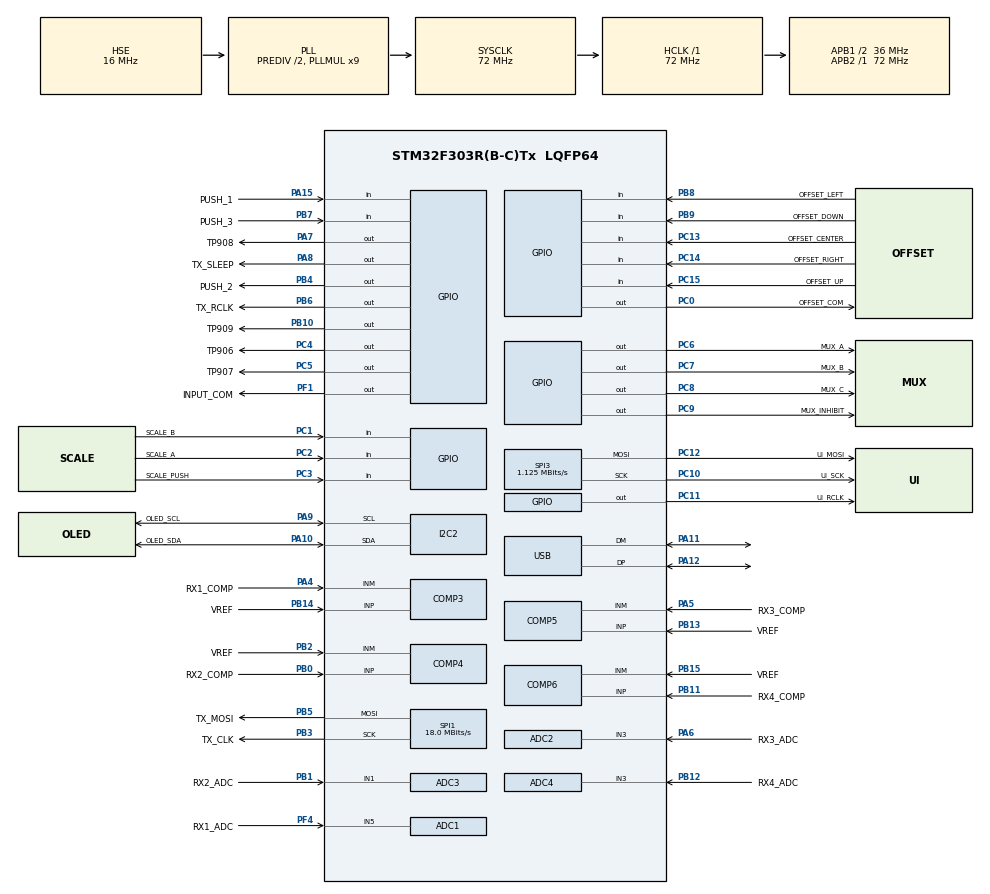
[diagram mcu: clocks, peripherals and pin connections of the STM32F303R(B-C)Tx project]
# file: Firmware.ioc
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ADC1.Channel-0\#ChannelRegularConversion=ADC_CHANNEL_5
ADC1.ClockPrescaler=ADC_CLOCK_SYNC_PCLK_DIV1
ADC1.NbrOfConversionFlag=1
ADC1.Offset-0\#ChannelRegularConversion=0
ADC1.OffsetNumber-0\#ChannelRegularConversion=ADC_OFFSET_NONE
ADC1.Rank-0\#ChannelRegularConversion=1
ADC1.SamplingTime-0\#ChannelRegularConversion=ADC_SAMPLETIME_1CYCLE_5
ADC1.SamplingTimeOPAMP-0\#ChannelRegularConversion=ADC_SAMPLETIME_19CYCLES_5
ADC1.master=1
ADC2.Channel-0\#ChannelRegularConversion=ADC_CHANNEL_3
ADC2.ClockPrescaler=ADC_CLOCK_SYNC_PCLK_DIV1
ADC2.NbrOfConversionFlag=1
ADC2.Offset-0\#ChannelRegularConversion=0
ADC2.OffsetNumber-0\#ChannelRegularConversion=ADC_OFFSET_NONE
ADC2.Rank-0\#ChannelRegularConversion=1
ADC2.SamplingTime-0\#ChannelRegularConversion=ADC_SAMPLETIME_1CYCLE_5
ADC2.SamplingTimeOPAMP-0\#ChannelRegularConversion=ADC_SAMPLETIME_19CYCLES_5
ADC3.Channel-0\#ChannelRegularConversion=ADC_CHANNEL_1
ADC3.ClockPrescaler=ADC_CLOCK_SYNC_PCLK_DIV1
ADC3.NbrOfConversionFlag=1
ADC3.Offset-0\#ChannelRegularConversion=0
ADC3.OffsetNumber-0\#ChannelRegularConversion=ADC_OFFSET_NONE
ADC3.Rank-0\#ChannelRegularConversion=1
ADC3.SamplingTime-0\#ChannelRegularConversion=ADC_SAMPLETIME_1CYCLE_5
ADC3.SamplingTimeOPAMP-0\#ChannelRegularConversion=ADC_SAMPLETIME_4CYCLES_5
ADC3.master=1
ADC4.Channel-0\#ChannelRegularConversion=ADC_CHANNEL_3
ADC4.ClockPrescaler=ADC_CLOCK_SYNC_PCLK_DIV1
ADC4.NbrOfConversionFlag=1
ADC4.Offset-0\#ChannelRegularConversion=0
ADC4.OffsetNumber-0\#ChannelRegularConversion=ADC_OFFSET_NONE
ADC4.Rank-0\#ChannelRegularConversion=1
ADC4.SamplingTime-0\#ChannelRegularConversion=ADC_SAMPLETIME_1CYCLE_5
ADC4.SamplingTimeOPAMP-0\#ChannelRegularConversion=ADC_SAMPLETIME_19CYCLES_5
Dma.ADC1.0.Direction=DMA_PERIPH_TO_MEMORY
Dma.ADC1.0.Instance=DMA1_Channel1
Dma.ADC1.0.MemDataAlignment=DMA_MDATAALIGN_HALFWORD
Dma.ADC1.0.MemInc=DMA_MINC_ENABLE
Dma.ADC1.0.Mode=DMA_NORMAL
Dma.ADC1.0.PeriphDataAlignment=DMA_PDATAALIGN_HALFWORD
Dma.ADC1.0.PeriphInc=DMA_PINC_DISABLE
Dma.ADC1.0.Priority=DMA_PRIORITY_MEDIUM
Dma.ADC2.1.Direction=DMA_PERIPH_TO_MEMORY
Dma.ADC2.1.Instance=DMA2_Channel1
Dma.ADC2.1.MemDataAlignment=DMA_MDATAALIGN_HALFWORD
Dma.ADC2.1.MemInc=DMA_MINC_ENABLE
Dma.ADC2.1.Mode=DMA_NORMAL
Dma.ADC2.1.PeriphDataAlignment=DMA_PDATAALIGN_HALFWORD
Dma.ADC2.1.PeriphInc=DMA_PINC_DISABLE
Dma.ADC2.1.Priority=DMA_PRIORITY_MEDIUM
Dma.ADC3.2.Direction=DMA_PERIPH_TO_MEMORY
Dma.ADC3.2.Instance=DMA2_Channel5
Dma.ADC3.2.MemDataAlignment=DMA_MDATAALIGN_HALFWORD
Dma.ADC3.2.MemInc=DMA_MINC_ENABLE
Dma.ADC3.2.Mode=DMA_NORMAL
Dma.ADC3.2.PeriphDataAlignment=DMA_PDATAALIGN_HALFWORD
Dma.ADC3.2.PeriphInc=DMA_PINC_DISABLE
Dma.ADC3.2.Priority=DMA_PRIORITY_MEDIUM
Dma.ADC4.3.Direction=DMA_PERIPH_TO_MEMORY
Dma.ADC4.3.Instance=DMA2_Channel2
Dma.ADC4.3.MemDataAlignment=DMA_MDATAALIGN_HALFWORD
Dma.ADC4.3.MemInc=DMA_MINC_ENABLE
Dma.ADC4.3.Mode=DMA_NORMAL
Dma.ADC4.3.PeriphDataAlignment=DMA_PDATAALIGN_HALFWORD
Dma.ADC4.3.PeriphInc=DMA_PINC_DISABLE
Dma.ADC4.3.Priority=DMA_PRIORITY_MEDIUM
Dma.Request0=ADC1
Dma.Request1=ADC2
Dma.Request2=ADC3
Dma.Request3=ADC4
FREERTOS.Tasks01=USB_Transmit,0,128,StartUSB_Transmit,Default,NULL,Dynamic,NULL,NULL;LED_Write,-2,128,StartLED_Write,Default,NULL,Dynamic,NULL,NULL;UI_Read,-2,128,StartUI_Read,Default,NULL,Dynamic,NULL,NULL
I2C2.Timing=0x00201D2B
Mcu.Family=STM32F3
Mcu.Name=STM32F303R(B-C)Tx
Mcu.Package=LQFP64
NVIC.ADC1_2_IRQn=true\:5\:0\:false\:false\:true\:true\:true\:true\:true
NVIC.ADC3_IRQn=true\:5\:0\:false\:false\:true\:true\:true\:true\:true
NVIC.ADC4_IRQn=true\:5\:0\:false\:false\:true\:true\:true\:true\:true
NVIC.DMA1_Channel1_IRQn=true\:5\:0\:false\:false\:true\:true\:false\:true\:true
NVIC.DMA2_Channel1_IRQn=true\:5\:0\:false\:false\:true\:true\:false\:true\:true
NVIC.DMA2_Channel2_IRQn=true\:5\:0\:false\:false\:true\:true\:false\:true\:true
NVIC.DMA2_Channel5_IRQn=true\:5\:0\:false\:false\:true\:true\:false\:true\:true
NVIC.PriorityGroup=NVIC_PRIORITYGROUP_4
NVIC.TIM1_UP_TIM16_IRQn=true\:15\:0\:false\:false\:true\:false\:false\:true\:true
NVIC.TimeBase=TIM1_UP_TIM16_IRQn
NVIC.TimeBaseIP=TIM1
NVIC.USB_LP_CAN_RX0_IRQn=true\:5\:0\:false\:false\:true\:true\:false\:true\:true
PA10.GPIO_Label=OLED_SDA
PA10.Mode=I2C
PA10.Signal=I2C2_SDA
PA11.Mode=Device
PA11.Signal=USB_DM
PA12.Mode=Device
PA12.Signal=USB_DP
PA13.Mode=Serial_Wire
PA13.Signal=SYS_JTMS-SWDIO
PA14.Mode=Serial_Wire
PA14.Signal=SYS_JTCK-SWCLK
PA15.GPIO_Label=PUSH_1
PA15.Signal=GPIO_Input
PA4.GPIO_Label=RX1_COMP
PA4.Mode=INM
PA4.Signal=COMP3_INM
PA5.GPIO_Label=RX3_COMP
PA5.Mode=INM
PA5.Signal=COMP5_INM
PA6.GPIO_Label=RX3_ADC
PA6.Mode=IN3-Single-Ended
PA6.Signal=ADC2_IN3
PA7.GPIO_Label=TP908
PA7.Signal=GPIO_Output
PA8.GPIO_Label=TX_SLEEP
PA8.Signal=GPIO_Output
PA9.GPIO_Label=OLED_SCL
PA9.Mode=I2C
PA9.Signal=I2C2_SCL
PB0.GPIO_Label=RX2_COMP
PB0.Mode=INP
PB0.Signal=COMP4_INP
PB1.GPIO_Label=RX2_ADC
PB1.Mode=IN1-Single-Ended
PB1.Signal=ADC3_IN1
PB10.GPIO_Label=TP909
PB10.Signal=GPIO_Output
PB11.GPIO_Label=RX4_COMP
PB11.Mode=INP
PB11.Signal=COMP6_INP
PB12.GPIO_Label=RX4_ADC
PB12.Mode=IN3-Single-Ended
PB12.Signal=ADC4_IN3
PB13.GPIO_Label=VREF
PB13.Mode=INP
PB13.Signal=COMP5_INP
PB14.GPIO_Label=VREF
PB14.Mode=INP
PB14.Signal=COMP3_INP
PB15.GPIO_Label=VREF
PB15.Mode=INM
PB15.Signal=COMP6_INM
PB2.GPIO_Label=VREF
PB2.Mode=INM
PB2.Signal=COMP4_INM
PB3.GPIO_Label=TX_CLK
PB3.Mode=TX_Only_Simplex_Unidirect_Master
PB3.Signal=SPI1_SCK
PB4.GPIO_Label=PUSH_2
PB4.Signal=GPIO_Output
PB5.GPIO_Label=TX_MOSI
PB5.Mode=TX_Only_Simplex_Unidirect_Master
PB5.Signal=SPI1_MOSI
PB6.GPIO_Label=TX_RCLK
PB6.Signal=GPIO_Output
PB7.GPIO_Label=PUSH_3
PB7.Signal=GPIO_Input
PB8.GPIO_Label=OFFSET_LEFT
PB8.Signal=GPIO_Input
PB9.GPIO_Label=OFFSET_DOWN
PB9.Signal=GPIO_Input
PC0.GPIO_Label=OFFSET_COM
PC0.Signal=GPIO_Output
PC1.GPIO_Label=SCALE_B
PC1.Signal=GPIO_Input
PC10.GPIO_Label=UI_SCK
PC10.Mode=TX_Only_Simplex_Unidirect_Master
PC10.Signal=SPI3_SCK
PC11.GPIO_Label=UI_RCLK
PC11.Signal=GPIO_Output
PC12.GPIO_Label=UI_MOSI
PC12.Mode=TX_Only_Simplex_Unidirect_Master
PC12.Signal=SPI3_MOSI
PC13.GPIO_Label=OFFSET_CENTER
PC13.Signal=GPIO_Input
PC14-OSC32_IN.GPIO_Label=OFFSET_RIGHT
PC14-OSC32_IN.Signal=GPIO_Input
PC15-OSC32_OUT.GPIO_Label=OFFSET_UP
PC15-OSC32_OUT.Signal=GPIO_Input
PC2.GPIO_Label=SCALE_A
PC2.Signal=GPIO_Input
PC3.GPIO_Label=SCALE_PUSH
PC3.Signal=GPIO_Input
PC4.GPIO_Label=TP906
PC4.Signal=GPIO_Output
PC5.GPIO_Label=TP907
PC5.Signal=GPIO_Output
PC6.GPIO_Label=MUX_A
PC6.Signal=GPIO_Output
PC7.GPIO_Label=MUX_B
PC7.Signal=GPIO_Output
PC8.GPIO_Label=MUX_C
PC8.Signal=GPIO_Output
PC9.GPIO_Label=MUX_INHIBIT
PC9.Signal=GPIO_Output
PF0-OSC_IN.Mode=HSE-External-Clock-Source
PF0-OSC_IN.Signal=RCC_OSC_IN
PF1-OSC_OUT.GPIO_Label=INPUT_COM
PF1-OSC_OUT.Signal=GPIO_Output
PF4.GPIO_Label=RX1_ADC
PF4.Mode=IN5-Single-Ended
PF4.Signal=ADC1_IN5
ProjectManager.HeapSize=0x200
ProjectManager.StackSize=0x400
ProjectManager.TargetToolchain=STM32CubeIDE
RCC.AHBFreq_Value=72000000
RCC.APB1CLKDivider=RCC_HCLK_DIV2
RCC.APB1Freq_Value=36000000
RCC.APB1TimFreq_Value=72000000
RCC.APB2Freq_Value=72000000
RCC.APB2TimFreq_Value=72000000
RCC.CortexFreq_Value=72000000
RCC.HCLKFreq_Value=72000000
RCC.HSE_VALUE=16000000
RCC.HSI_VALUE=8000000
RCC.LSE_VALUE=32768
RCC.PLLMUL=RCC_PLL_MUL9
RCC.PRESCALERUSB=RCC_USBCLKSOURCE_PLL_DIV1_5
RCC.RCC_PLLsource_Clock_Source_FROM_HSE=RCC_HSE_PREDIV_DIV2
RCC.SYSCLKFreq_VALUE=72000000
RCC.SYSCLKSourceVirtual=RCC_SYSCLKSOURCE_PLLCLK
RCC.USBFreq_Value=48000000
SPI1.BaudRatePrescaler=SPI_BAUDRATEPRESCALER_4
SPI1.CalculateBaudRate=18.0 MBits/s
SPI1.Direction=SPI_DIRECTION_2LINES
SPI1.Mode=SPI_MODE_MASTER
SPI1.VirtualType=VM_MASTER
SPI3.BaudRatePrescaler=SPI_BAUDRATEPRESCALER_32
SPI3.CalculateBaudRate=1.125 MBits/s
SPI3.DataSize=SPI_DATASIZE_8BIT
SPI3.Direction=SPI_DIRECTION_2LINES
SPI3.FirstBit=SPI_FIRSTBIT_LSB
SPI3.Mode=SPI_MODE_MASTER
SPI3.VirtualType=VM_MASTER
USB_DEVICE.CLASS_NAME_FS=CDC
USB_DEVICE.VirtualMode=Cdc
USB_DEVICE.VirtualModeFS=Cdc_FS
VP_FREERTOS_VS_CMSIS_V1.Mode=CMSIS_V1
VP_SYS_VS_tim1.Mode=TIM1
VP_USB_DEVICE_VS_USB_DEVICE_CDC_FS.Mode=CDC_FS
board=custom

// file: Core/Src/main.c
/* USER CODE BEGIN Header */
/**
  ******************************************************************************
  * @file           : main.c
  * @brief          : Main program body
  ******************************************************************************
  * @attention
  *
  * Copyright (c) 2025 STMicroelectronics.
  * All rights reserved.
  *
  * This software is licensed under terms that can be found in the LICENSE file
  * in the root directory of this software component.
  * If no LICENSE file comes with this software, it is provided AS-IS.
  *
  ******************************************************************************
  */
/* USER CODE END Header */
#include "main.h"
#include "cmsis_os.h"
#include "usb_device.h"

/* USER CODE BEGIN Includes */
#include "usbd_cdc_if.h"
#include "string.h"
#include "ssd1306_fonts.h"
#include "ssd1306.h"
#include "ssd1306_conf.h"
#include "usbd_core.h"
/* USER CODE END Includes */

ADC_HandleTypeDef hadc1;
ADC_HandleTypeDef hadc2;
ADC_HandleTypeDef hadc3;
ADC_HandleTypeDef hadc4;
DMA_HandleTypeDef hdma_adc1;
DMA_HandleTypeDef hdma_adc2;
DMA_HandleTypeDef hdma_adc3;
DMA_HandleTypeDef hdma_adc4;

COMP_HandleTypeDef hcomp3;
COMP_HandleTypeDef hcomp4;
COMP_HandleTypeDef hcomp5;
COMP_HandleTypeDef hcomp6;

I2C_HandleTypeDef hi2c2;

SPI_HandleTypeDef hspi1;
SPI_HandleTypeDef hspi3;

osThreadId USB_TransmitHandle;
osThreadId LED_WriteHandle;
osThreadId UI_ReadHandle;

void SystemClock_Config(void);
static void MX_GPIO_Init(void);
static void MX_DMA_Init(void);
static void MX_ADC3_Init(void);
static void MX_COMP3_Init(void);
static void MX_COMP4_Init(void);
static void MX_COMP5_Init(void);
static void MX_COMP6_Init(void);
static void MX_ADC1_Init(void);
static void MX_ADC2_Init(void);
static void MX_ADC4_Init(void);
static void MX_I2C2_Init(void);
static void MX_SPI1_Init(void);
static void MX_SPI3_Init(void);
void StartUSB_Transmit(void const * argument);
void StartLED_Write(void const * argument);
void StartUI_Read(void const * argument);

/* USER CODE BEGIN 0 */
char *usbdata = "Poles: Zeroes: \n";
char *startupmessage = "STARTING...";

uint8_t led_status = 0b01111111;

int32_t encoder1_count = 0;
int32_t encoder2_count = 0;
uint8_t last_a_encoder1 = 0;
uint8_t last_a_encoder2 = 0;

uint8_t button1_state = 0;
uint8_t button2_state = 0;
uint8_t button3_state = 0;
uint8_t encoder1_button_state = 0;
uint8_t encoder2_button_state = 0;

uint8_t dpad1_up = 0;
uint8_t dpad1_down = 0;
uint8_t dpad1_left = 0;
uint8_t dpad1_right = 0;
uint8_t dpad1_button = 0;
uint8_t dpad2_up = 0;
uint8_t dpad2_down = 0;
uint8_t dpad2_left = 0;
uint8_t dpad2_right = 0;
uint8_t dpad2_button = 0;

uint8_t a1 = 0;
uint8_t a2 = 0;
uint8_t b1 = 0;
uint8_t b2 = 0;
/* USER CODE END 0 */

int main(void)
{

  /* MCU Configuration--------------------------------------------------------*/

  /* Reset of all peripherals, Initializes the Flash interface and the Systick. */
  HAL_Init();

  /* Configure the system clock */
  SystemClock_Config();

  /* Initialize all configured peripherals */
  MX_GPIO_Init();
  MX_DMA_Init();
  MX_ADC3_Init();
  MX_COMP3_Init();
  MX_COMP4_Init();
  MX_COMP5_Init();
  MX_COMP6_Init();
  MX_ADC1_Init();
  MX_ADC2_Init();
  MX_ADC4_Init();
  MX_I2C2_Init();
  MX_SPI1_Init();
  MX_SPI3_Init();
  /* USER CODE BEGIN 2 */

  ssd1306_Init();
  ssd1306_Fill(White);
  ssd1306_SetCursor(6, 20);
  ssd1306_WriteString(startupmessage, Font_6x8, Black);
  ssd1306_UpdateScreen();

  MX_USB_DEVICE_Init();

  /* USER CODE END 2 */

  /* Create the thread(s) */
  /* definition and creation of USB_Transmit */
  osThreadDef(USB_Transmit, StartUSB_Transmit, osPriorityNormal, 0, 128);
  USB_TransmitHandle = osThreadCreate(osThread(USB_Transmit), NULL);

  /* definition and creation of LED_Write */
  osThreadDef(LED_Write, StartLED_Write, osPriorityLow, 0, 128);
  LED_WriteHandle = osThreadCreate(osThread(LED_Write), NULL);

  /* definition and creation of UI_Read */
  osThreadDef(UI_Read, StartUI_Read, osPriorityLow, 0, 128);
  UI_ReadHandle = osThreadCreate(osThread(UI_Read), NULL);

  /* Start scheduler */
  osKernelStart();

  /* We should never get here as control is now taken by the scheduler */

  /* Infinite loop */
  while (1)
  {

  }
}

void SystemClock_Config(void)
{
  RCC_OscInitTypeDef RCC_OscInitStruct = {0};
  RCC_ClkInitTypeDef RCC_ClkInitStruct = {0};
  RCC_PeriphCLKInitTypeDef PeriphClkInit = {0};

  /** Initializes the RCC Oscillators according to the specified parameters
  * in the RCC_OscInitTypeDef structure.
  */
  RCC_OscInitStruct.OscillatorType = RCC_OSCILLATORTYPE_HSI|RCC_OSCILLATORTYPE_HSE;
  RCC_OscInitStruct.HSEState = RCC_HSE_BYPASS;
  RCC_OscInitStruct.HSEPredivValue = RCC_HSE_PREDIV_DIV2;
  RCC_OscInitStruct.HSIState = RCC_HSI_ON;
  RCC_OscInitStruct.HSICalibrationValue = RCC_HSICALIBRATION_DEFAULT;
  RCC_OscInitStruct.PLL.PLLState = RCC_PLL_ON;
  RCC_OscInitStruct.PLL.PLLSource = RCC_PLLSOURCE_HSE;
  RCC_OscInitStruct.PLL.PLLMUL = RCC_PLL_MUL9;
  if (HAL_RCC_OscConfig(&RCC_OscInitStruct) != HAL_OK)
  {
    Error_Handler();
  }

  /** Initializes the CPU, AHB and APB buses clocks
  */
  RCC_ClkInitStruct.ClockType = RCC_CLOCKTYPE_HCLK|RCC_CLOCKTYPE_SYSCLK
                              |RCC_CLOCKTYPE_PCLK1|RCC_CLOCKTYPE_PCLK2;
  RCC_ClkInitStruct.SYSCLKSource = RCC_SYSCLKSOURCE_PLLCLK;
  RCC_ClkInitStruct.AHBCLKDivider = RCC_SYSCLK_DIV1;
  RCC_ClkInitStruct.APB1CLKDivider = RCC_HCLK_DIV2;
  RCC_ClkInitStruct.APB2CLKDivider = RCC_HCLK_DIV1;

  if (HAL_RCC_ClockConfig(&RCC_ClkInitStruct, FLASH_LATENCY_2) != HAL_OK)
  {
    Error_Handler();
  }
  PeriphClkInit.PeriphClockSelection = RCC_PERIPHCLK_USB|RCC_PERIPHCLK_I2C2;
  PeriphClkInit.I2c2ClockSelection = RCC_I2C2CLKSOURCE_HSI;
  PeriphClkInit.USBClockSelection = RCC_USBCLKSOURCE_PLL_DIV1_5;
  if (HAL_RCCEx_PeriphCLKConfig(&PeriphClkInit) != HAL_OK)
  {
    Error_Handler();
  }
}

static void MX_ADC1_Init(void)
{

  ADC_MultiModeTypeDef multimode = {0};
  ADC_ChannelConfTypeDef sConfig = {0};

  /** Common config
  */
  hadc1.Instance = ADC1;
  hadc1.Init.ClockPrescaler = ADC_CLOCK_SYNC_PCLK_DIV1;
  hadc1.Init.Resolution = ADC_RESOLUTION_12B;
  hadc1.Init.ScanConvMode = ADC_SCAN_DISABLE;
  hadc1.Init.ContinuousConvMode = DISABLE;
  hadc1.Init.DiscontinuousConvMode = DISABLE;
  hadc1.Init.ExternalTrigConvEdge = ADC_EXTERNALTRIGCONVEDGE_NONE;
  hadc1.Init.ExternalTrigConv = ADC_SOFTWARE_START;
  hadc1.Init.DataAlign = ADC_DATAALIGN_RIGHT;
  hadc1.Init.NbrOfConversion = 1;
  hadc1.Init.DMAContinuousRequests = DISABLE;
  hadc1.Init.EOCSelection = ADC_EOC_SINGLE_CONV;
  hadc1.Init.LowPowerAutoWait = DISABLE;
  hadc1.Init.Overrun = ADC_OVR_DATA_OVERWRITTEN;
  if (HAL_ADC_Init(&hadc1) != HAL_OK)
  {
    Error_Handler();
  }

  /** Configure the ADC multi-mode
  */
  multimode.Mode = ADC_MODE_INDEPENDENT;
  if (HAL_ADCEx_MultiModeConfigChannel(&hadc1, &multimode) != HAL_OK)
  {
    Error_Handler();
  }

  /** Configure Regular Channel
  */
  sConfig.Channel = ADC_CHANNEL_5;
  sConfig.Rank = ADC_REGULAR_RANK_1;
  sConfig.SingleDiff = ADC_SINGLE_ENDED;
  sConfig.SamplingTime = ADC_SAMPLETIME_1CYCLE_5;
  sConfig.OffsetNumber = ADC_OFFSET_NONE;
  sConfig.Offset = 0;
  if (HAL_ADC_ConfigChannel(&hadc1, &sConfig) != HAL_OK)
  {
    Error_Handler();
  }

}

static void MX_ADC2_Init(void)
{

  ADC_ChannelConfTypeDef sConfig = {0};

  /** Common config
  */
  hadc2.Instance = ADC2;
  hadc2.Init.ClockPrescaler = ADC_CLOCK_SYNC_PCLK_DIV1;
  hadc2.Init.Resolution = ADC_RESOLUTION_12B;
  hadc2.Init.ScanConvMode = ADC_SCAN_DISABLE;
  hadc2.Init.ContinuousConvMode = DISABLE;
  hadc2.Init.DiscontinuousConvMode = DISABLE;
  hadc2.Init.ExternalTrigConvEdge = ADC_EXTERNALTRIGCONVEDGE_NONE;
  hadc2.Init.ExternalTrigConv = ADC_SOFTWARE_START;
  hadc2.Init.DataAlign = ADC_DATAALIGN_RIGHT;
  hadc2.Init.NbrOfConversion = 1;
  hadc2.Init.DMAContinuousRequests = DISABLE;
  hadc2.Init.EOCSelection = ADC_EOC_SINGLE_CONV;
  hadc2.Init.LowPowerAutoWait = DISABLE;
  hadc2.Init.Overrun = ADC_OVR_DATA_OVERWRITTEN;
  if (HAL_ADC_Init(&hadc2) != HAL_OK)
  {
    Error_Handler();
  }

  /** Configure Regular Channel
  */
  sConfig.Channel = ADC_CHANNEL_3;
  sConfig.Rank = ADC_REGULAR_RANK_1;
  sConfig.SingleDiff = ADC_SINGLE_ENDED;
  sConfig.SamplingTime = ADC_SAMPLETIME_1CYCLE_5;
  sConfig.OffsetNumber = ADC_OFFSET_NONE;
  sConfig.Offset = 0;
  if (HAL_ADC_ConfigChannel(&hadc2, &sConfig) != HAL_OK)
  {
    Error_Handler();
  }

}

static void MX_ADC3_Init(void)
{

  ADC_MultiModeTypeDef multimode = {0};
  ADC_ChannelConfTypeDef sConfig = {0};

  /** Common config
  */
  hadc3.Instance = ADC3;
  hadc3.Init.ClockPrescaler = ADC_CLOCK_SYNC_PCLK_DIV1;
  hadc3.Init.Resolution = ADC_RESOLUTION_12B;
  hadc3.Init.ScanConvMode = ADC_SCAN_DISABLE;
  hadc3.Init.ContinuousConvMode = DISABLE;
  hadc3.Init.DiscontinuousConvMode = DISABLE;
  hadc3.Init.ExternalTrigConvEdge = ADC_EXTERNALTRIGCONVEDGE_NONE;
  hadc3.Init.ExternalTrigConv = ADC_SOFTWARE_START;
  hadc3.Init.DataAlign = ADC_DATAALIGN_RIGHT;
  hadc3.Init.NbrOfConversion = 1;
  hadc3.Init.DMAContinuousRequests = DISABLE;
  hadc3.Init.EOCSelection = ADC_EOC_SINGLE_CONV;
  hadc3.Init.LowPowerAutoWait = DISABLE;
  hadc3.Init.Overrun = ADC_OVR_DATA_OVERWRITTEN;
  if (HAL_ADC_Init(&hadc3) != HAL_OK)
  {
    Error_Handler();
  }

  /** Configure the ADC multi-mode
  */
  multimode.Mode = ADC_MODE_INDEPENDENT;
  if (HAL_ADCEx_MultiModeConfigChannel(&hadc3, &multimode) != HAL_OK)
  {
    Error_Handler();
  }

  /** Configure Regular Channel
  */
  sConfig.Channel = ADC_CHANNEL_1;
  sConfig.Rank = ADC_REGULAR_RANK_1;
  sConfig.SingleDiff = ADC_SINGLE_ENDED;
  sConfig.SamplingTime = ADC_SAMPLETIME_1CYCLE_5;
  sConfig.OffsetNumber = ADC_OFFSET_NONE;
  sConfig.Offset = 0;
  if (HAL_ADC_ConfigChannel(&hadc3, &sConfig) != HAL_OK)
  {
    Error_Handler();
  }

}

static void MX_ADC4_Init(void)
{

  ADC_ChannelConfTypeDef sConfig = {0};

  /** Common config
  */
  hadc4.Instance = ADC4;
  hadc4.Init.ClockPrescaler = ADC_CLOCK_SYNC_PCLK_DIV1;
  hadc4.Init.Resolution = ADC_RESOLUTION_12B;
  hadc4.Init.ScanConvMode = ADC_SCAN_DISABLE;
  hadc4.Init.ContinuousConvMode = DISABLE;
  hadc4.Init.DiscontinuousConvMode = DISABLE;
  hadc4.Init.ExternalTrigConvEdge = ADC_EXTERNALTRIGCONVEDGE_NONE;
  hadc4.Init.ExternalTrigConv = ADC_SOFTWARE_START;
  hadc4.Init.DataAlign = ADC_DATAALIGN_RIGHT;
  hadc4.Init.NbrOfConversion = 1;
  hadc4.Init.DMAContinuousRequests = DISABLE;
  hadc4.Init.EOCSelection = ADC_EOC_SINGLE_CONV;
  hadc4.Init.LowPowerAutoWait = DISABLE;
  hadc4.Init.Overrun = ADC_OVR_DATA_OVERWRITTEN;
  if (HAL_ADC_Init(&hadc4) != HAL_OK)
  {
    Error_Handler();
  }

  /** Configure Regular Channel
  */
  sConfig.Channel = ADC_CHANNEL_3;
  sConfig.Rank = ADC_REGULAR_RANK_1;
  sConfig.SingleDiff = ADC_SINGLE_ENDED;
  sConfig.SamplingTime = ADC_SAMPLETIME_1CYCLE_5;
  sConfig.OffsetNumber = ADC_OFFSET_NONE;
  sConfig.Offset = 0;
  if (HAL_ADC_ConfigChannel(&hadc4, &sConfig) != HAL_OK)
  {
    Error_Handler();
  }

}

static void MX_COMP3_Init(void)
{

  hcomp3.Instance = COMP3;
  hcomp3.Init.InvertingInput = COMP_INVERTINGINPUT_DAC1_CH1;
  hcomp3.Init.NonInvertingInput = COMP_NONINVERTINGINPUT_IO1;
  hcomp3.Init.Output = COMP_OUTPUT_NONE;
  hcomp3.Init.OutputPol = COMP_OUTPUTPOL_NONINVERTED;
  hcomp3.Init.Hysteresis = COMP_HYSTERESIS_NONE;
  hcomp3.Init.BlankingSrce = COMP_BLANKINGSRCE_NONE;
  hcomp3.Init.Mode = COMP_MODE_HIGHSPEED;
  hcomp3.Init.WindowMode = COMP_WINDOWMODE_DISABLE;
  hcomp3.Init.TriggerMode = COMP_TRIGGERMODE_NONE;
  if (HAL_COMP_Init(&hcomp3) != HAL_OK)
  {
    Error_Handler();
  }

}

static void MX_COMP4_Init(void)
{

  hcomp4.Instance = COMP4;
  hcomp4.Init.InvertingInput = COMP_INVERTINGINPUT_IO2;
  hcomp4.Init.NonInvertingInput = COMP_NONINVERTINGINPUT_IO1;
  hcomp4.Init.Output = COMP_OUTPUT_NONE;
  hcomp4.Init.OutputPol = COMP_OUTPUTPOL_NONINVERTED;
  hcomp4.Init.Hysteresis = COMP_HYSTERESIS_NONE;
  hcomp4.Init.BlankingSrce = COMP_BLANKINGSRCE_NONE;
  hcomp4.Init.Mode = COMP_MODE_HIGHSPEED;
  hcomp4.Init.WindowMode = COMP_WINDOWMODE_DISABLE;
  hcomp4.Init.TriggerMode = COMP_TRIGGERMODE_NONE;
  if (HAL_COMP_Init(&hcomp4) != HAL_OK)
  {
    Error_Handler();
  }

}

static void MX_COMP5_Init(void)
{

  hcomp5.Instance = COMP5;
  hcomp5.Init.InvertingInput = COMP_INVERTINGINPUT_DAC1_CH2;
  hcomp5.Init.NonInvertingInput = COMP_NONINVERTINGINPUT_IO2;
  hcomp5.Init.Output = COMP_OUTPUT_NONE;
  hcomp5.Init.OutputPol = COMP_OUTPUTPOL_NONINVERTED;
  hcomp5.Init.Hysteresis = COMP_HYSTERESIS_NONE;
  hcomp5.Init.BlankingSrce = COMP_BLANKINGSRCE_NONE;
  hcomp5.Init.Mode = COMP_MODE_HIGHSPEED;
  hcomp5.Init.WindowMode = COMP_WINDOWMODE_DISABLE;
  hcomp5.Init.TriggerMode = COMP_TRIGGERMODE_NONE;
  if (HAL_COMP_Init(&hcomp5) != HAL_OK)
  {
    Error_Handler();
  }

}

static void MX_COMP6_Init(void)
{

  hcomp6.Instance = COMP6;
  hcomp6.Init.InvertingInput = COMP_INVERTINGINPUT_IO2;
  hcomp6.Init.NonInvertingInput = COMP_NONINVERTINGINPUT_IO2;
  hcomp6.Init.Output = COMP_OUTPUT_NONE;
  hcomp6.Init.OutputPol = COMP_OUTPUTPOL_NONINVERTED;
  hcomp6.Init.Hysteresis = COMP_HYSTERESIS_NONE;
  hcomp6.Init.BlankingSrce = COMP_BLANKINGSRCE_NONE;
  hcomp6.Init.Mode = COMP_MODE_HIGHSPEED;
  hcomp6.Init.WindowMode = COMP_WINDOWMODE_DISABLE;
  hcomp6.Init.TriggerMode = COMP_TRIGGERMODE_NONE;
  if (HAL_COMP_Init(&hcomp6) != HAL_OK)
  {
    Error_Handler();
  }

}

static void MX_I2C2_Init(void)
{

  hi2c2.Instance = I2C2;
  hi2c2.Init.Timing = 0x00201D2B;
  hi2c2.Init.OwnAddress1 = 0;
  hi2c2.Init.AddressingMode = I2C_ADDRESSINGMODE_7BIT;
  hi2c2.Init.DualAddressMode = I2C_DUALADDRESS_DISABLE;
  hi2c2.Init.OwnAddress2 = 0;
  hi2c2.Init.OwnAddress2Masks = I2C_OA2_NOMASK;
  hi2c2.Init.GeneralCallMode = I2C_GENERALCALL_DISABLE;
  hi2c2.Init.NoStretchMode = I2C_NOSTRETCH_DISABLE;
  if (HAL_I2C_Init(&hi2c2) != HAL_OK)
  {
    Error_Handler();
  }

  /** Configure Analogue filter
  */
  if (HAL_I2CEx_ConfigAnalogFilter(&hi2c2, I2C_ANALOGFILTER_ENABLE) != HAL_OK)
  {
    Error_Handler();
  }

  /** Configure Digital filter
  */
  if (HAL_I2CEx_ConfigDigitalFilter(&hi2c2, 0) != HAL_OK)
  {
    Error_Handler();
  }

}

static void MX_SPI1_Init(void)
{

  /* SPI1 parameter configuration*/
  hspi1.Instance = SPI1;
  hspi1.Init.Mode = SPI_MODE_MASTER;
  hspi1.Init.Direction = SPI_DIRECTION_2LINES;
  hspi1.Init.DataSize = SPI_DATASIZE_4BIT;
  hspi1.Init.CLKPolarity = SPI_POLARITY_LOW;
  hspi1.Init.CLKPhase = SPI_PHASE_1EDGE;
  hspi1.Init.NSS = SPI_NSS_SOFT;
  hspi1.Init.BaudRatePrescaler = SPI_BAUDRATEPRESCALER_4;
  hspi1.Init.FirstBit = SPI_FIRSTBIT_MSB;
  hspi1.Init.TIMode = SPI_TIMODE_DISABLE;
  hspi1.Init.CRCCalculation = SPI_CRCCALCULATION_DISABLE;
  hspi1.Init.CRCPolynomial = 7;
  hspi1.Init.CRCLength = SPI_CRC_LENGTH_DATASIZE;
  hspi1.Init.NSSPMode = SPI_NSS_PULSE_ENABLE;
  if (HAL_SPI_Init(&hspi1) != HAL_OK)
  {
    Error_Handler();
  }

}

static void MX_SPI3_Init(void)
{

  /* SPI3 parameter configuration*/
  hspi3.Instance = SPI3;
  hspi3.Init.Mode = SPI_MODE_MASTER;
  hspi3.Init.Direction = SPI_DIRECTION_2LINES;
  hspi3.Init.DataSize = SPI_DATASIZE_8BIT;
  hspi3.Init.CLKPolarity = SPI_POLARITY_LOW;
  hspi3.Init.CLKPhase = SPI_PHASE_1EDGE;
  hspi3.Init.NSS = SPI_NSS_SOFT;
  hspi3.Init.BaudRatePrescaler = SPI_BAUDRATEPRESCALER_32;
  hspi3.Init.FirstBit = SPI_FIRSTBIT_LSB;
  hspi3.Init.TIMode = SPI_TIMODE_DISABLE;
  hspi3.Init.CRCCalculation = SPI_CRCCALCULATION_DISABLE;
  hspi3.Init.CRCPolynomial = 7;
  hspi3.Init.CRCLength = SPI_CRC_LENGTH_DATASIZE;
  hspi3.Init.NSSPMode = SPI_NSS_PULSE_ENABLE;
  if (HAL_SPI_Init(&hspi3) != HAL_OK)
  {
    Error_Handler();
  }

}

static void MX_DMA_Init(void)
{

  /* DMA controller clock enable */
  __HAL_RCC_DMA1_CLK_ENABLE();
  __HAL_RCC_DMA2_CLK_ENABLE();

  /* DMA interrupt init */
  /* DMA1_Channel1_IRQn interrupt configuration */
  HAL_NVIC_SetPriority(DMA1_Channel1_IRQn, 5, 0);
  HAL_NVIC_EnableIRQ(DMA1_Channel1_IRQn);
  /* DMA2_Channel1_IRQn interrupt configuration */
  HAL_NVIC_SetPriority(DMA2_Channel1_IRQn, 5, 0);
  HAL_NVIC_EnableIRQ(DMA2_Channel1_IRQn);
  /* DMA2_Channel2_IRQn interrupt configuration */
  HAL_NVIC_SetPriority(DMA2_Channel2_IRQn, 5, 0);
  HAL_NVIC_EnableIRQ(DMA2_Channel2_IRQn);
  /* DMA2_Channel5_IRQn interrupt configuration */
  HAL_NVIC_SetPriority(DMA2_Channel5_IRQn, 5, 0);
  HAL_NVIC_EnableIRQ(DMA2_Channel5_IRQn);

}

static void MX_GPIO_Init(void)
{
  GPIO_InitTypeDef GPIO_InitStruct = {0};

  /* GPIO Ports Clock Enable */
  __HAL_RCC_GPIOC_CLK_ENABLE();
  __HAL_RCC_GPIOF_CLK_ENABLE();
  __HAL_RCC_GPIOA_CLK_ENABLE();
  __HAL_RCC_GPIOB_CLK_ENABLE();

  /*Configure GPIO pin Output Level */
  HAL_GPIO_WritePin(INPUT_COM_GPIO_Port, INPUT_COM_Pin, GPIO_PIN_RESET);

  /*Configure GPIO pin Output Level */
  HAL_GPIO_WritePin(GPIOC, OFFSET_COM_Pin|TP906_Pin|TP907_Pin|MUX_A_Pin
                          |MUX_B_Pin|MUX_C_Pin|MUX_INHIBIT_Pin|UI_RCLK_Pin, GPIO_PIN_RESET);

  /*Configure GPIO pin Output Level */
  HAL_GPIO_WritePin(GPIOA, TP908_Pin|TX_SLEEP_Pin, GPIO_PIN_RESET);

  /*Configure GPIO pin Output Level */
  HAL_GPIO_WritePin(GPIOB, TP909_Pin|PUSH_2_Pin|TX_RCLK_Pin, GPIO_PIN_RESET);

  /*Configure GPIO pins : OFFSET_CENTER_Pin OFFSET_RIGHT_Pin OFFSET_UP_Pin SCALE_B_Pin
                           SCALE_A_Pin SCALE_PUSH_Pin */
  GPIO_InitStruct.Pin = OFFSET_CENTER_Pin|OFFSET_RIGHT_Pin|OFFSET_UP_Pin|SCALE_B_Pin
                          |SCALE_A_Pin|SCALE_PUSH_Pin;
  GPIO_InitStruct.Mode = GPIO_MODE_INPUT;
  GPIO_InitStruct.Pull = GPIO_NOPULL;
  HAL_GPIO_Init(GPIOC, &GPIO_InitStruct);

  /*Configure GPIO pin : INPUT_COM_Pin */
  GPIO_InitStruct.Pin = INPUT_COM_Pin;
  GPIO_InitStruct.Mode = GPIO_MODE_OUTPUT_PP;
  GPIO_InitStruct.Pull = GPIO_NOPULL;
  GPIO_InitStruct.Speed = GPIO_SPEED_FREQ_LOW;
  HAL_GPIO_Init(INPUT_COM_GPIO_Port, &GPIO_InitStruct);

  /*Configure GPIO pins : OFFSET_COM_Pin TP906_Pin TP907_Pin MUX_A_Pin
                           MUX_B_Pin MUX_C_Pin MUX_INHIBIT_Pin UI_RCLK_Pin */
  GPIO_InitStruct.Pin = OFFSET_COM_Pin|TP906_Pin|TP907_Pin|MUX_A_Pin
                          |MUX_B_Pin|MUX_C_Pin|MUX_INHIBIT_Pin|UI_RCLK_Pin;
  GPIO_InitStruct.Mode = GPIO_MODE_OUTPUT_PP;
  GPIO_InitStruct.Pull = GPIO_NOPULL;
  GPIO_InitStruct.Speed = GPIO_SPEED_FREQ_LOW;
  HAL_GPIO_Init(GPIOC, &GPIO_InitStruct);

  /*Configure GPIO pins : TP908_Pin TX_SLEEP_Pin */
  GPIO_InitStruct.Pin = TP908_Pin|TX_SLEEP_Pin;
  GPIO_InitStruct.Mode = GPIO_MODE_OUTPUT_PP;
  GPIO_InitStruct.Pull = GPIO_NOPULL;
  GPIO_InitStruct.Speed = GPIO_SPEED_FREQ_LOW;
  HAL_GPIO_Init(GPIOA, &GPIO_InitStruct);

  /*Configure GPIO pins : TP909_Pin PUSH_2_Pin TX_RCLK_Pin */
  GPIO_InitStruct.Pin = TP909_Pin|PUSH_2_Pin|TX_RCLK_Pin;
  GPIO_InitStruct.Mode = GPIO_MODE_OUTPUT_PP;
  GPIO_InitStruct.Pull = GPIO_NOPULL;
  GPIO_InitStruct.Speed = GPIO_SPEED_FREQ_LOW;
  HAL_GPIO_Init(GPIOB, &GPIO_InitStruct);

  /*Configure GPIO pin : PUSH_1_Pin */
  GPIO_InitStruct.Pin = PUSH_1_Pin;
  GPIO_InitStruct.Mode = GPIO_MODE_INPUT;
  GPIO_InitStruct.Pull = GPIO_NOPULL;
  HAL_GPIO_Init(PUSH_1_GPIO_Port, &GPIO_InitStruct);

  /*Configure GPIO pins : PUSH_3_Pin OFFSET_LEFT_Pin OFFSET_DOWN_Pin */
  GPIO_InitStruct.Pin = PUSH_3_Pin|OFFSET_LEFT_Pin|OFFSET_DOWN_Pin;
  GPIO_InitStruct.Mode = GPIO_MODE_INPUT;
  GPIO_InitStruct.Pull = GPIO_NOPULL;
  HAL_GPIO_Init(GPIOB, &GPIO_InitStruct);

}

void StartUSB_Transmit(void const * argument)
{
  /* init code for USB_DEVICE */
  MX_USB_DEVICE_Init();
  for(;;)
  {
    osDelay(1);
  }
}

void StartLED_Write(void const * argument)
{
  for(;;)
  {
    osDelay(1);
  }
}

void StartUI_Read(void const * argument)
{
  for(;;)
  {
    osDelay(1);
  }
}

void HAL_TIM_PeriodElapsedCallback(TIM_HandleTypeDef *htim)
{
  if (htim->Instance == TIM1) {
    HAL_IncTick();
  }
}

void Error_Handler(void)
{
  __disable_irq();
  while (1)
  {
  }
}
